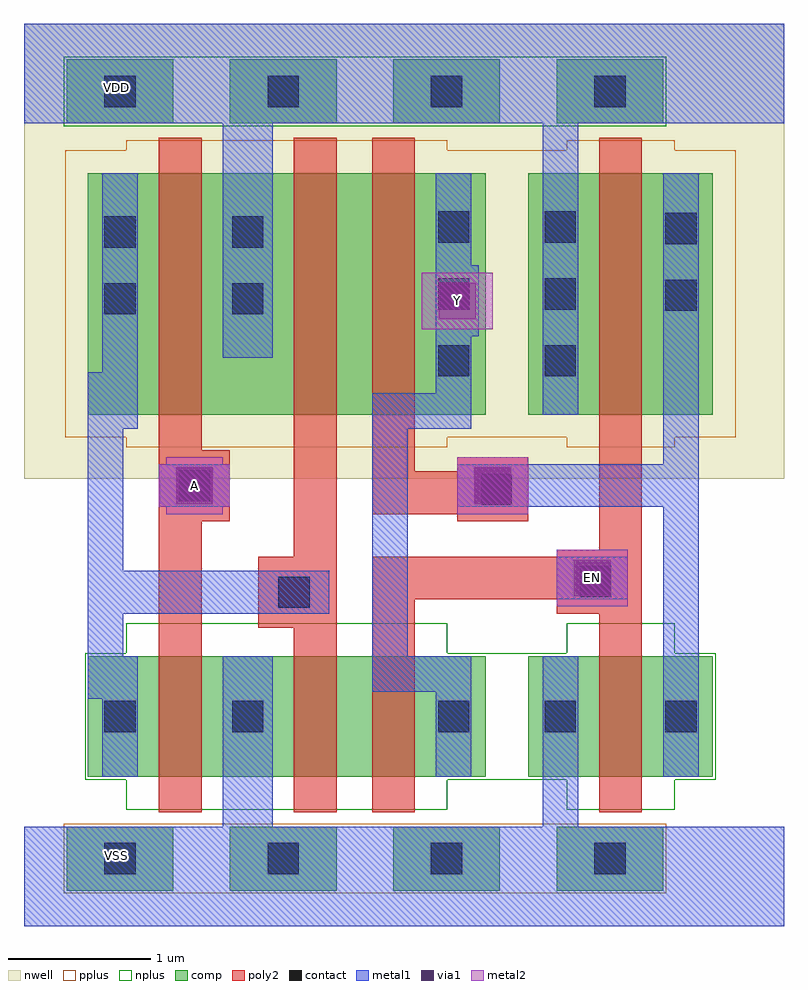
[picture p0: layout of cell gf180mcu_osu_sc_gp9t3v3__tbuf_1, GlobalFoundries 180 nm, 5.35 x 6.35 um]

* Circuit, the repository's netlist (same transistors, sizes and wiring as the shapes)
* Copyright 2022 Google LLC
*
* Licensed under the Apache License, Version 2.0 (the "License");
* you may not use this file except in compliance with the License.
* You may obtain a copy of the License at
*
*      http://www.apache.org/licenses/LICENSE-2.0
*
* Unless required by applicable law or agreed to in writing, software
* distributed under the License is distributed on an "AS IS" BASIS,
* WITHOUT WARRANTIES OR CONDITIONS OF ANY KIND, either express or implied.
* See the License for the specific language governing permissions and
* limitations under the License.

* NGSPICE file created from gf180mcu_osu_sc_gp9t3v3__tbuf_1.ext - technology: gf180mcuC

.subckt gf180mcu_osu_sc_gp9t3v3__tbuf_1 A Y EN VDD VSS
X0 VDD A a_9_21# VDD pfet_03p3 w=1.7u l=0.3u
X1 VSS A a_9_21# VSS nfet_03p3 w=0.85u l=0.3u
X2 a_44_72# a_9_21# VDD VDD pfet_03p3 w=1.7u l=0.3u
X3 Y a_49_58# a_44_72# VDD pfet_03p3 w=1.7u l=0.3u
X4 a_49_58# EN VDD VDD pfet_03p3 w=1.7u l=0.3u
X5 a_44_21# a_9_21# VSS VSS nfet_03p3 w=0.85u l=0.3u
X6 Y EN a_44_21# VSS nfet_03p3 w=0.85u l=0.3u
X7 a_49_58# EN VSS VSS nfet_03p3 w=0.85u l=0.3u
.ends

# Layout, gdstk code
import gdstk
lib = gdstk.Library(unit=1e-6, precision=1e-09)
def R(c, l, rs):  # rectangles x0, y0, x1, y1
    for r in rs: c.add(gdstk.rectangle(r[:2], r[2:], *l))
def A(c, l, x, y, w, h, nx, ny, dx, dy):  # array of equal rectangles
    R(c, l, [(x+i*dx, y+j*dy, x+i*dx+w, y+j*dy+h) for i in range(nx) for j in range(ny)])
nwell = (21, 0)
comp = (22, 0)
poly2 = (30, 0)
pplus = (31, 0)
nplus = (32, 0)
contact = (33, 0)
metal1 = (34, 0)
via1 = (35, 0)
metal2 = (36, 0)

gf180mcu_osu_sc_gp9t3v3_ = lib.new_cell('gf180mcu_osu_sc_gp9t3v3__tbuf_1')
R(gf180mcu_osu_sc_gp9t3v3_, nwell, [(0,3.15,5.35,6.35)])
A(gf180mcu_osu_sc_gp9t3v3_, comp, 0.3, 0.25, 0.75, 0.45, 4, 2, 1.15, 5.4)
R(gf180mcu_osu_sc_gp9t3v3_, comp, [(0.45,1.05,3.25,1.9), (3.55,1.05,4.85,1.9), (0.45,3.6,3.25,5.3), (3.55,3.6,4.85,5.3)])
R(gf180mcu_osu_sc_gp9t3v3_, poly2, [(0.95,0.8,1.25,2.85), (1.9,0.8,2.2,2.1), (2.45,0.8,2.75,2.3), (4.05,0.8,4.35,2.2), (1.65,2.1,2.2,2.6), (3.75,2.2,4.35,2.3), (2.45,2.3,4.35,2.6), (1.9,2.6,2.2,5.55), (3.75,2.6,4.35,2.65), (4.05,2.65,4.35,5.55), (0.95,2.85,1.45,3.35), (3.05,2.85,3.55,2.9), (2.45,2.9,3.55,3.2), (2.45,3.2,2.75,5.55), (3.05,3.2,3.55,3.3), (0.95,3.35,1.25,5.55)])
R(gf180mcu_osu_sc_gp9t3v3_, pplus, [(0.28,0.23,4.52,0.72), (0.72,3.37,2.98,3.44), (3.82,3.37,4.58,3.44), (0.29,3.44,5.01,5.46), (0.72,5.46,2.98,5.53), (3.82,5.46,4.58,5.53)])
R(gf180mcu_osu_sc_gp9t3v3_, nplus, [(0.72,0.82,2.98,1.03), (3.82,0.82,4.58,1.03), (0.43,1.03,4.87,1.92), (0.72,1.92,2.98,2.13), (3.82,1.92,4.58,2.13), (0.28,5.63,4.52,6.12)])
A(gf180mcu_osu_sc_gp9t3v3_, contact, 0.565, 0.365, 0.22, 0.22, 4, 2, 1.15, 5.4)
A(gf180mcu_osu_sc_gp9t3v3_, contact, 2.915, 3.87, 0.22, 0.22, 1, 3, 0, 0.47)
A(gf180mcu_osu_sc_gp9t3v3_, contact, 3.665, 3.87, 0.22, 0.22, 1, 3, 0, 0.47)
R(gf180mcu_osu_sc_gp9t3v3_, contact, [(0.565,1.365,0.785,1.585), (1.465,1.365,1.685,1.585), (2.915,1.365,3.135,1.585), (3.665,1.365,3.885,1.585), (4.515,1.365,4.735,1.585), (1.79,2.24,2.01,2.46), (3.915,2.315,4.135,2.535), (3.215,2.965,3.435,3.185), (1.09,2.99,1.31,3.21), (0.565,4.305,0.785,4.525), (1.465,4.305,1.685,4.525), (4.515,4.33,4.735,4.55), (0.565,4.775,0.785,4.995), (1.465,4.775,1.685,4.995), (4.515,4.8,4.735,5.02)])
R(gf180mcu_osu_sc_gp9t3v3_, metal1, [(0,0,5.35,0.7), (1.4,0.7,1.75,1.9), (3.65,0.7,3.9,1.9), (0.55,1.05,0.8,1.6), (2.9,1.05,3.15,1.65), (4.5,1.05,4.75,2.95), (0.45,1.6,0.8,1.9), (2.45,1.65,3.15,1.9), (0.45,1.9,0.7,2.2), (2.45,1.9,2.7,3.5), (0.45,2.2,2.15,2.5), (3.75,2.3,4.25,2.6), (0.45,2.5,0.7,3.5), (0.95,2.95,1.45,3.25), (3.05,2.95,4.75,3.25), (4.5,3.25,4.75,5.3), (0.45,3.5,0.8,3.9), (2.45,3.5,3.15,3.75), (3.65,3.6,3.9,5.65), (2.9,3.75,3.15,4.15), (0.55,3.9,0.8,5.3), (1.4,4,1.75,5.65), (2.9,4.15,3.2,4.65), (2.9,4.65,3.15,5.3), (0,5.65,5.35,6.35)])
R(gf180mcu_osu_sc_gp9t3v3_, via1, [(3.87,2.32,4.13,2.58), (1.07,2.97,1.33,3.23), (3.17,2.97,3.43,3.23), (2.92,4.27,3.18,4.53)])
R(gf180mcu_osu_sc_gp9t3v3_, metal2, [(3.75,2.25,4.25,2.65), (1,2.9,1.4,2.95), (3.05,2.9,3.55,3.3), (0.95,2.95,1.45,3.25), (1,3.25,1.4,3.3), (2.8,4.2,3.3,4.6)])
gf180mcu_osu_sc_gp9t3v3_.add(gdstk.Label('A', (1.2,3.1), layer=36, texttype=10))
gf180mcu_osu_sc_gp9t3v3_.add(gdstk.Label('Y', (3.05,4.4), layer=36, texttype=10))
gf180mcu_osu_sc_gp9t3v3_.add(gdstk.Label('EN', (4,2.45), layer=36, texttype=10))
gf180mcu_osu_sc_gp9t3v3_.add(gdstk.Label('VDD', (0.65,5.9), layer=34, texttype=10))
gf180mcu_osu_sc_gp9t3v3_.add(gdstk.Label('VSS', (0.65,0.5), layer=34, texttype=10))

lib.write_gds('gf180mcu_osu_sc_gp9t3v3__tbuf_1.gds')
